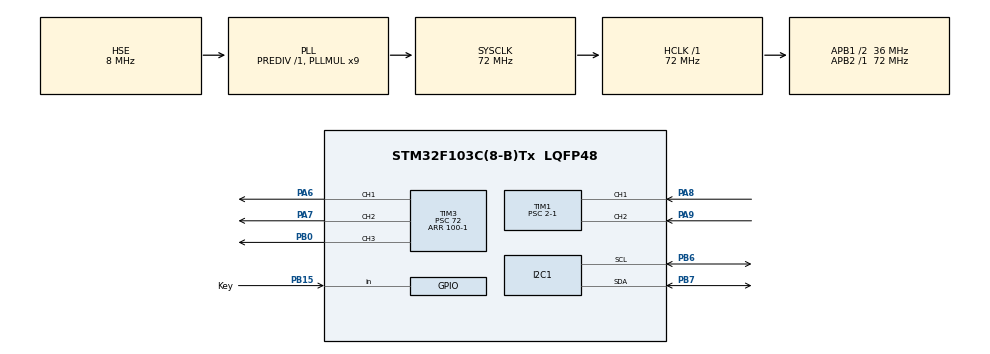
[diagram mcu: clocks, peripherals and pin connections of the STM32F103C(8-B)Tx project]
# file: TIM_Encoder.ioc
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I2C1.I2C_Mode=I2C_Standard
Mcu.Family=STM32F1
Mcu.Name=STM32F103C(8-B)Tx
Mcu.Package=LQFP48
NVIC.PriorityGroup=NVIC_PRIORITYGROUP_4
PA13.Mode=Serial_Wire
PA13.Signal=SYS_JTMS-SWDIO
PA14.Mode=Serial_Wire
PA14.Signal=SYS_JTCK-SWCLK
PA6.Signal=S_TIM3_CH1
PA7.Signal=S_TIM3_CH2
PA8.Signal=S_TIM1_CH1
PA9.Signal=S_TIM1_CH2
PB0.Signal=S_TIM3_CH3
PB15.GPIO_Label=Key
PB15.GPIO_PuPd=GPIO_PULLUP
PB15.Signal=GPIO_Input
PB6.Mode=I2C
PB6.Signal=I2C1_SCL
PB7.Mode=I2C
PB7.Signal=I2C1_SDA
PD0-OSC_IN.Mode=HSE-External-Oscillator
PD0-OSC_IN.Signal=RCC_OSC_IN
PD1-OSC_OUT.Mode=HSE-External-Oscillator
PD1-OSC_OUT.Signal=RCC_OSC_OUT
ProjectManager.HeapSize=0x200
ProjectManager.StackSize=0x400
ProjectManager.TargetToolchain=CMake
RCC.AHBFreq_Value=72000000
RCC.APB1CLKDivider=RCC_HCLK_DIV2
RCC.APB1Freq_Value=36000000
RCC.APB1TimFreq_Value=72000000
RCC.APB2Freq_Value=72000000
RCC.APB2TimFreq_Value=72000000
RCC.HCLKFreq_Value=72000000
RCC.PLLMUL=RCC_PLL_MUL9
RCC.PLLSourceVirtual=RCC_PLLSOURCE_HSE
RCC.SYSCLKFreq_VALUE=72000000
RCC.SYSCLKSource=RCC_SYSCLKSOURCE_PLLCLK
RCC.USBFreq_Value=72000000
SH.S_TIM1_CH1.0=TIM1_CH1,Encoder_Interface
SH.S_TIM1_CH2.0=TIM1_CH2,Encoder_Interface
SH.S_TIM3_CH1.0=TIM3_CH1,PWM Generation1 CH1
SH.S_TIM3_CH2.0=TIM3_CH2,PWM Generation2 CH2
SH.S_TIM3_CH3.0=TIM3_CH3,PWM Generation3 CH3
TIM1.IC1Filter=15
TIM1.IC2Filter=15
TIM1.IC2Polarity=TIM_ICPOLARITY_FALLING
TIM1.Prescaler=2-1
TIM3.Channel-PWM\ Generation1\ CH1=TIM_CHANNEL_1
TIM3.Channel-PWM\ Generation2\ CH2=TIM_CHANNEL_2
TIM3.Channel-PWM\ Generation3\ CH3=TIM_CHANNEL_3
TIM3.Period=100-1
TIM3.Prescaler=72
VP_TIM3_VS_ClockSourceINT.Mode=Internal
board=custom

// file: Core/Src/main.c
/* USER CODE BEGIN Header */
/**
  ******************************************************************************
  * @file           : main.c
  * @brief          : Main program body
  ******************************************************************************
  * @attention
  *
  * Copyright (c) 2026 STMicroelectronics.
  * All rights reserved.
  *
  * This software is licensed under terms that can be found in the LICENSE file
  * in the root directory of this software component.
  * If no LICENSE file comes with this software, it is provided AS-IS.
  *
  ******************************************************************************
  */
/* USER CODE END Header */
#include "main.h"
#include "i2c.h"
#include "tim.h"
#include "gpio.h"

/* USER CODE BEGIN Includes */
#include "oled.h"     /* OLED 显示屏驱动 */
#include"string.h"    /* 字符串操作库 */
#include"stdio.h"     /* 标准输入输出库，用于 sprintf */
/* USER CODE END Includes */

void SystemClock_Config(void);

int main(void)
{

  /* MCU Configuration--------------------------------------------------------*/

  /* Reset of all peripherals, Initializes the Flash interface and the Systick. */
  HAL_Init();

  /* Configure the system clock */
  SystemClock_Config();

  /* Initialize all configured peripherals */
  MX_GPIO_Init();
  MX_I2C1_Init();
  MX_TIM1_Init();
  MX_TIM3_Init();
  /* USER CODE BEGIN 2 */
  int channel_index = 0;                                    /* 当前PWM通道索引(0=CH1,1=CH2,2=CH3) */
  uint32_t channels[3] = {TIM_CHANNEL_1, TIM_CHANNEL_2, TIM_CHANNEL_3}; /* 三个PWM通道供切换 */
  HAL_Delay(20);                                            /* 等待OLED上电稳定 */
  OLED_Init();                                              /* 初始化OLED显示屏 */
  HAL_TIM_Encoder_Start(&htim1, TIM_CHANNEL_ALL);           /* 启动TIM1编码器模式读取旋转编码器 */
  HAL_TIM_PWM_Start(&htim3, channels[channel_index]);       /* 启动TIM3当前通道PWM输出 */
  int count = 0;                                            /* 编码器计数值 */
  char message[20] = "";                                    /* OLED显示缓冲区 */

  /* USER CODE END 2 */

  /* Infinite loop */
  /* USER CODE BEGIN WHILE */
  while (1)
  {
    OLED_NewFrame();                                                          /* 开始新一帧绘制 */
    count = __HAL_TIM_GET_COUNTER(&htim1);                                    /* 读取编码器当前计数值 */
    if(count > 6000){                                                         /* 超过6000则归零（防溢出） */
      count = 0;
      __HAL_TIM_SET_COUNTER(&htim1, 0);
    }else if(count >100){                                                     /* 上限钳位到100（进度条范围） */
      count = 100;
      __HAL_TIM_SET_COUNTER(&htim1, 100);
    }
    sprintf(message, "Count: %d", count);                                     /* 格式化计数值 */
    OLED_PrintString(13, 0, message, &font16x16, OLED_COLOR_NORMAL);          /* 显示数字 */
    OLED_DrawRectangle(13, 25, 101, 12, OLED_COLOR_NORMAL);                   /* 绘制进度条外框 */
    OLED_DrawFilledRectangle(14, 26, count, 11, OLED_COLOR_NORMAL);           /* 绘制进度条填充 */
    if(HAL_GPIO_ReadPin(Key_GPIO_Port, Key_Pin) == GPIO_PIN_RESET){           /* 按键按下（低电平有效） */
      HAL_Delay(20);                                                          /* 消抖 */
      if(HAL_GPIO_ReadPin(Key_GPIO_Port, Key_Pin) == GPIO_PIN_RESET){         /* 再次确认按下 */
        HAL_TIM_PWM_Stop(&htim3, channels[channel_index]);                    /* 停止当前PWM通道 */
        channel_index = (channel_index + 1) % 3;                              /* 切换到下一个通道(0→1→2→0) */
        HAL_TIM_PWM_Start(&htim3, channels[channel_index]);                   /* 启动新通道PWM */
      }
      while(HAL_GPIO_ReadPin(Key_GPIO_Port, Key_Pin) == GPIO_PIN_RESET);      /* 等待按键释放 */
    }
    __HAL_TIM_SET_COMPARE(&htim3, channels[channel_index], count);            /* 设置PWM占空比=计数值 */
    OLED_ShowFrame();                                                         /* 刷新显示 */
    HAL_Delay(100);                                                           /* 每100ms更新一次 */
    /* USER CODE END WHILE */

  }
}

void SystemClock_Config(void)
{
  RCC_OscInitTypeDef RCC_OscInitStruct = {0};
  RCC_ClkInitTypeDef RCC_ClkInitStruct = {0};

  /** Initializes the RCC Oscillators according to the specified parameters
  * in the RCC_OscInitTypeDef structure.
  */
  RCC_OscInitStruct.OscillatorType = RCC_OSCILLATORTYPE_HSE;
  RCC_OscInitStruct.HSEState = RCC_HSE_ON;
  RCC_OscInitStruct.HSEPredivValue = RCC_HSE_PREDIV_DIV1;
  RCC_OscInitStruct.HSIState = RCC_HSI_ON;
  RCC_OscInitStruct.PLL.PLLState = RCC_PLL_ON;
  RCC_OscInitStruct.PLL.PLLSource = RCC_PLLSOURCE_HSE;
  RCC_OscInitStruct.PLL.PLLMUL = RCC_PLL_MUL9;
  if (HAL_RCC_OscConfig(&RCC_OscInitStruct) != HAL_OK)
  {
    Error_Handler();
  }

  /** Initializes the CPU, AHB and APB buses clocks
  */
  RCC_ClkInitStruct.ClockType = RCC_CLOCKTYPE_HCLK|RCC_CLOCKTYPE_SYSCLK
                              |RCC_CLOCKTYPE_PCLK1|RCC_CLOCKTYPE_PCLK2;
  RCC_ClkInitStruct.SYSCLKSource = RCC_SYSCLKSOURCE_PLLCLK;
  RCC_ClkInitStruct.AHBCLKDivider = RCC_SYSCLK_DIV1;
  RCC_ClkInitStruct.APB1CLKDivider = RCC_HCLK_DIV2;
  RCC_ClkInitStruct.APB2CLKDivider = RCC_HCLK_DIV1;

  if (HAL_RCC_ClockConfig(&RCC_ClkInitStruct, FLASH_LATENCY_2) != HAL_OK)
  {
    Error_Handler();
  }
}

void Error_Handler(void)
{
  __disable_irq();
  while (1)
  {
  }
}
